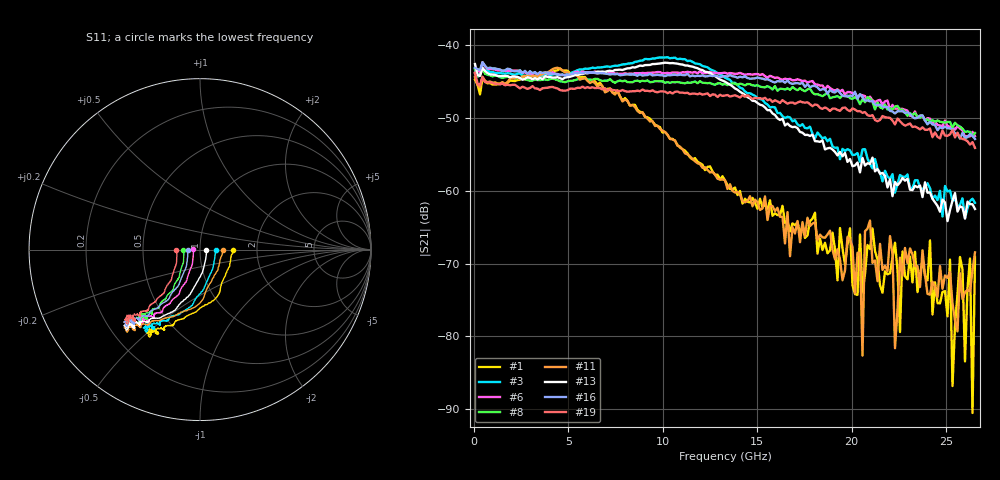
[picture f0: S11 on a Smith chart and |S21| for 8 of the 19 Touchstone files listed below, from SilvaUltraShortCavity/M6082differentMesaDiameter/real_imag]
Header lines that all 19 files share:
!  2-Port S-parameters saved by WinCal
! VAR MeasName=S-Parameters (CALIBRATED_DATA) read from VNA (C)
! VAR PHYS_PORTS=2,1
! VAR ObjTypeName=DATASET
! VAR IndexType=Frequency
# Hz S RI R 50
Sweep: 45 MHz to 26.55 GHz
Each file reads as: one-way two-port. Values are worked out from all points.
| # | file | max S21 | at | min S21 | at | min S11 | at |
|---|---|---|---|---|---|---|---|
| 1 | M6082_13_15_2_2_20C_1.8mA_-17.5dBm.S2P | -43.26 dB | 4.55 GHz | -90.5 dB | 26.41 GHz | -14.6 dB | 575 MHz |
| 2 | M6082_13_15_2_2_20C_2.5mA_-17.5dBm.S2P | -42.17 dB | 8.127 GHz | -72.2 dB | 26.15 GHz | -17.2 dB | 310 MHz |
| 3 | M6082_13_15_2_2_20C_3.5mA_-17.5dBm.S2P | -41.68 dB | 10.25 GHz | -63.8 dB | 26.02 GHz | -20.7 dB | 177.5 MHz |
| 4 | M6082_13_15_2_2_20C_4.8mA_-17.5dBm.S2P | -41.29 dB | 45 MHz | -58.0 dB | 25.75 GHz | -27.0 dB | 177.5 MHz |
| 5 | M6082_13_15_2_2_20C_6.4mA_-17.5dBm.S2P | -42.55 dB | 442.5 MHz | -54.6 dB | 26.41 GHz | -56.2 dB | 45 MHz |
| 6 | M6082_13_15_2_2_20C_8.3mA_-17.5dBm.S2P | -42.37 dB | 442.5 MHz | -52.6 dB | 26.02 GHz | -28.2 dB | 177.5 MHz |
| 7 | M6082_13_15_2_2_20C_10.4mA_-17.5dBm.S2P | -42.75 dB | 442.5 MHz | -51.7 dB | 26.41 GHz | -23.1 dB | 177.5 MHz |
| 8 | M6082_13_15_2_2_20C_12.9mA_-17.5dBm.S2P | -43.20 dB | 442.5 MHz | -52.5 dB | 26.41 GHz | -20.4 dB | 442.5 MHz |
| 9 | M6082_13_15_2_2_20C_15.6mA_-17.5dBm.S2P | -44.55 dB | 442.5 MHz | -54.3 dB | 26.41 GHz | -19.0 dB | 442.5 MHz |
| 10 | M6082_13_17_2_2_20C_1.4mA_-17.5dBm.S2P | -45.05 dB | 2.828 GHz | -94.1 dB | 24.29 GHz | -14.3 dB | 840 MHz |
| 11 | M6082_13_17_2_2_20C_1.8mA_-17.5dBm.S2P | -43.13 dB | 4.418 GHz | -82.6 dB | 20.58 GHz | -17.7 dB | 575 MHz |
| 12 | M6082_13_17_2_2_20C_2.5mA_-17.5dBm.S2P | -41.75 dB | 7.995 GHz | -72.0 dB | 25.22 GHz | -22.7 dB | 45 MHz |
| 13 | M6082_13_17_2_2_20C_3.5mA_-17.5dBm.S2P | -42.43 dB | 10.12 GHz | -64.2 dB | 25.09 GHz | -28.4 dB | 45 MHz |
| 14 | M6082_13_17_2_2_20C_4.8mA_-17.5dBm.S2P | -42.05 dB | 45 MHz | -59.2 dB | 26.55 GHz | -47.1 dB | 45 MHz |
| 15 | M6082_13_17_2_2_20C_6.4mA_-17.5dBm.S2P | -41.27 dB | 45 MHz | -54.7 dB | 26.28 GHz | -28.2 dB | 45 MHz |
| 16 | M6082_13_17_2_2_20C_8.3mA_-17.5dBm.S2P | -42.36 dB | 442.5 MHz | -52.9 dB | 26.55 GHz | -22.9 dB | 177.5 MHz |
| 17 | M6082_13_17_2_2_20C_10.4mA_-17.5dBm.S2P | -42.66 dB | 45 MHz | -52.7 dB | 26.55 GHz | -20.1 dB | 310 MHz |
| 18 | M6082_13_17_2_2_20C_12.9mA_-17.5dBm.S2P | -43.15 dB | 442.5 MHz | -52.9 dB | 26.41 GHz | -18.3 dB | 310 MHz |
| 19 | M6082_13_17_2_2_20C_15.6mA_-17.5dBm.S2P | -43.82 dB | 45 MHz | -54.1 dB | 26.55 GHz | -17.3 dB | 442.5 MHz |
